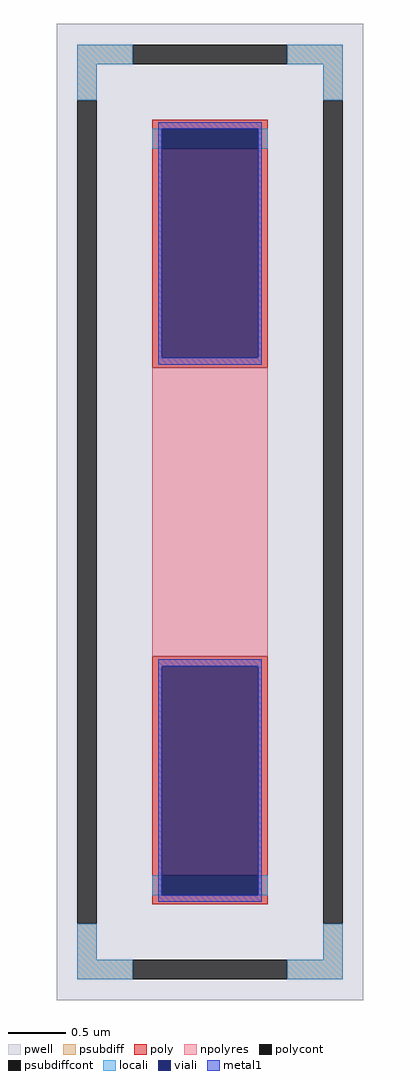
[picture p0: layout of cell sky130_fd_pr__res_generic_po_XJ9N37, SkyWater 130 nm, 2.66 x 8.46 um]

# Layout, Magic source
magic
tech sky130A
magscale 1 2
<< pwell >>
rect -266 -846 266 846
<< psubdiff >>
rect -230 776 -134 810
rect 134 776 230 810
rect -230 714 -196 776
rect 196 714 230 776
rect -230 -776 -196 -714
rect 196 -776 230 -714
rect -230 -810 -134 -776
rect 134 -810 230 -776
<< psubdiffcont >>
rect -134 776 134 810
rect -230 -714 -196 714
rect 196 -714 230 714
rect -134 -810 134 -776
<< poly >>
rect -100 664 100 680
rect -100 630 -84 664
rect 84 630 100 664
rect -100 250 100 630
rect -100 -630 100 -250
rect -100 -664 -84 -630
rect 84 -664 100 -630
rect -100 -680 100 -664
<< polycont >>
rect -84 630 84 664
rect -84 -664 84 -630
<< npolyres >>
rect -100 -250 100 250
<< locali >>
rect -230 776 -134 810
rect 134 776 230 810
rect -230 714 -196 776
rect 196 714 230 776
rect -100 630 -84 664
rect 84 630 100 664
rect -100 -664 -84 -630
rect 84 -664 100 -630
rect -230 -776 -196 -714
rect 196 -776 230 -714
rect -230 -810 -134 -776
rect 134 -810 230 -776
<< viali >>
rect -84 630 84 664
rect -84 267 84 630
rect -84 -630 84 -267
rect -84 -664 84 -630
<< metal1 >>
rect -90 664 90 676
rect -90 267 -84 664
rect 84 267 90 664
rect -90 255 90 267
rect -90 -267 90 -255
rect -90 -664 -84 -267
rect 84 -664 90 -267
rect -90 -676 90 -664
<< properties >>
string FIXED_BBOX -213 -793 213 793
string gencell sky130_fd_pr__res_generic_po
string library sky130
string parameters w 1 l 2.5 m 1 nx 1 wmin 0.330 lmin 1.650 rho 48.2 val 120.5 dummy 0 dw 0.0 term 0.0 sterm 0.0 caplen 0.4 snake 0 guard 1 glc 1 grc 1 gtc 1 gbc 1 roverlap 0 endcov 100 full_metal 1 hv_guard 0 n_guard 0 vias 1 viagb 0 viagt 0 viagl 0 viagr 0
<< end >>
